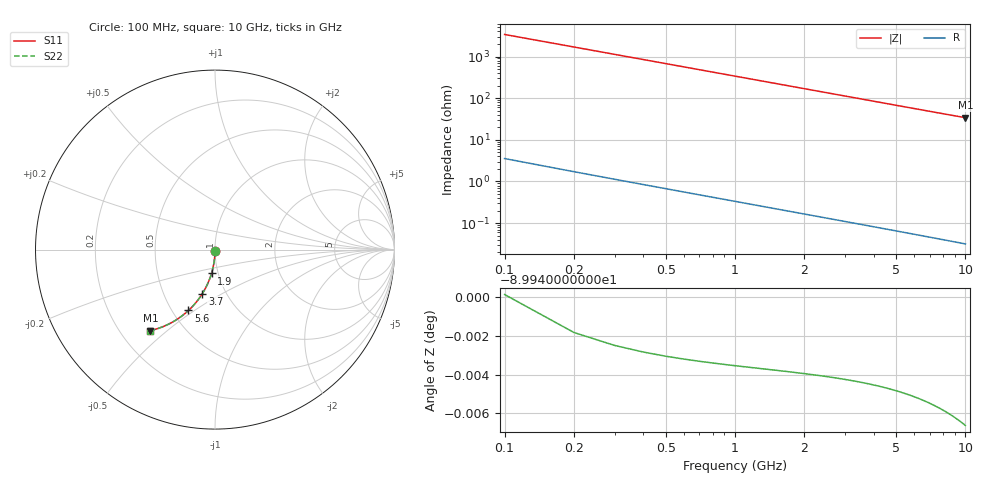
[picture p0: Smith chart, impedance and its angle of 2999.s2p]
# Hz S RI R 50.00
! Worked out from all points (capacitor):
!   100 points, 100 MHz to 10 GHz, reference 50 ohm
!   read as one part in shunt: C = 470 fF near 100 MHz
!   lowest |Z| = 34 ohm at 10 GHz (marker M1)
!   S11 on the Smith chart (normalised r, x): 100 MHz: 1.00, -0.01; 1.9 GHz: 0.93, -0.25; 3.7 GHz: 0.78, -0.41; 5.6 GHz: 0.60, -0.47; 10 GHz: 0.32, -0.44
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1e8  6.48e-06 -0.00711  0.9999 -0.00767  0.9999 -0.00767  6.48e-06 -0.00711
2e8  -0.000164 -0.0142  0.9997 -0.0153  0.9997 -0.0153  -0.000164 -0.0142
3e8  -0.000443 -0.0213  0.9994 -0.023  0.9994 -0.023  -0.000443 -0.0213
4e8  -0.000832 -0.0284  0.999 -0.0306  0.999 -0.0306  -0.000832 -0.0284
5e8  -0.00133 -0.0355  0.9985 -0.0383  0.9985 -0.0383  -0.00133 -0.0355
6e8  -0.00193 -0.0426  0.9979 -0.0459  0.9979 -0.0459  -0.00193 -0.0426
8e8  -0.00347 -0.0567  0.9964 -0.0611  0.9964 -0.0611  -0.00347 -0.0567
9e8  -0.0044 -0.0637  0.9954 -0.0687  0.9954 -0.0687  -0.0044 -0.0637
1.1e9  -0.00657 -0.0777  0.9933 -0.0838  0.9933 -0.0838  -0.00657 -0.0777
1.4e9  -0.0106 -0.0986  0.9892 -0.1063  0.9892 -0.1063  -0.0106 -0.0986
1.8e9  -0.0175 -0.1258  0.9823 -0.1358  0.9823 -0.1358  -0.0175 -0.1258
1.9e9  -0.0194 -0.1326  0.9804 -0.1431  0.9804 -0.1431  -0.0194 -0.1326
2.2e9  -0.0259 -0.1525  0.9739 -0.1647  0.9739 -0.1647  -0.0259 -0.1525
2.6e9  -0.0358 -0.1784  0.9639 -0.1929  0.9639 -0.1929  -0.0358 -0.1784
3.4e9  -0.0598 -0.2275  0.9398 -0.2465  0.9398 -0.2465  -0.0598 -0.2275
3.7e9  -0.0701 -0.2449  0.9295 -0.2655  0.9295 -0.2655  -0.0701 -0.2449
4.4e9  -0.0966 -0.2829  0.903 -0.3075  0.903 -0.3075  -0.0966 -0.2829
5.1e9  -0.1258 -0.3171  0.8737 -0.3457  0.8737 -0.3457  -0.1258 -0.3171
5.6e9  -0.148 -0.3392  0.8513 -0.3707  0.8513 -0.3707  -0.148 -0.3392
6.7e9  -0.1998 -0.3808  0.7994 -0.4185  0.7994 -0.4185  -0.1998 -0.3808
8.4e9  -0.283 -0.4265  0.7157 -0.4741  0.7157 -0.4741  -0.283 -0.4265
1e10  -0.3601 -0.4513  0.6381 -0.5083  0.6381 -0.5083  -0.3601 -0.4513
